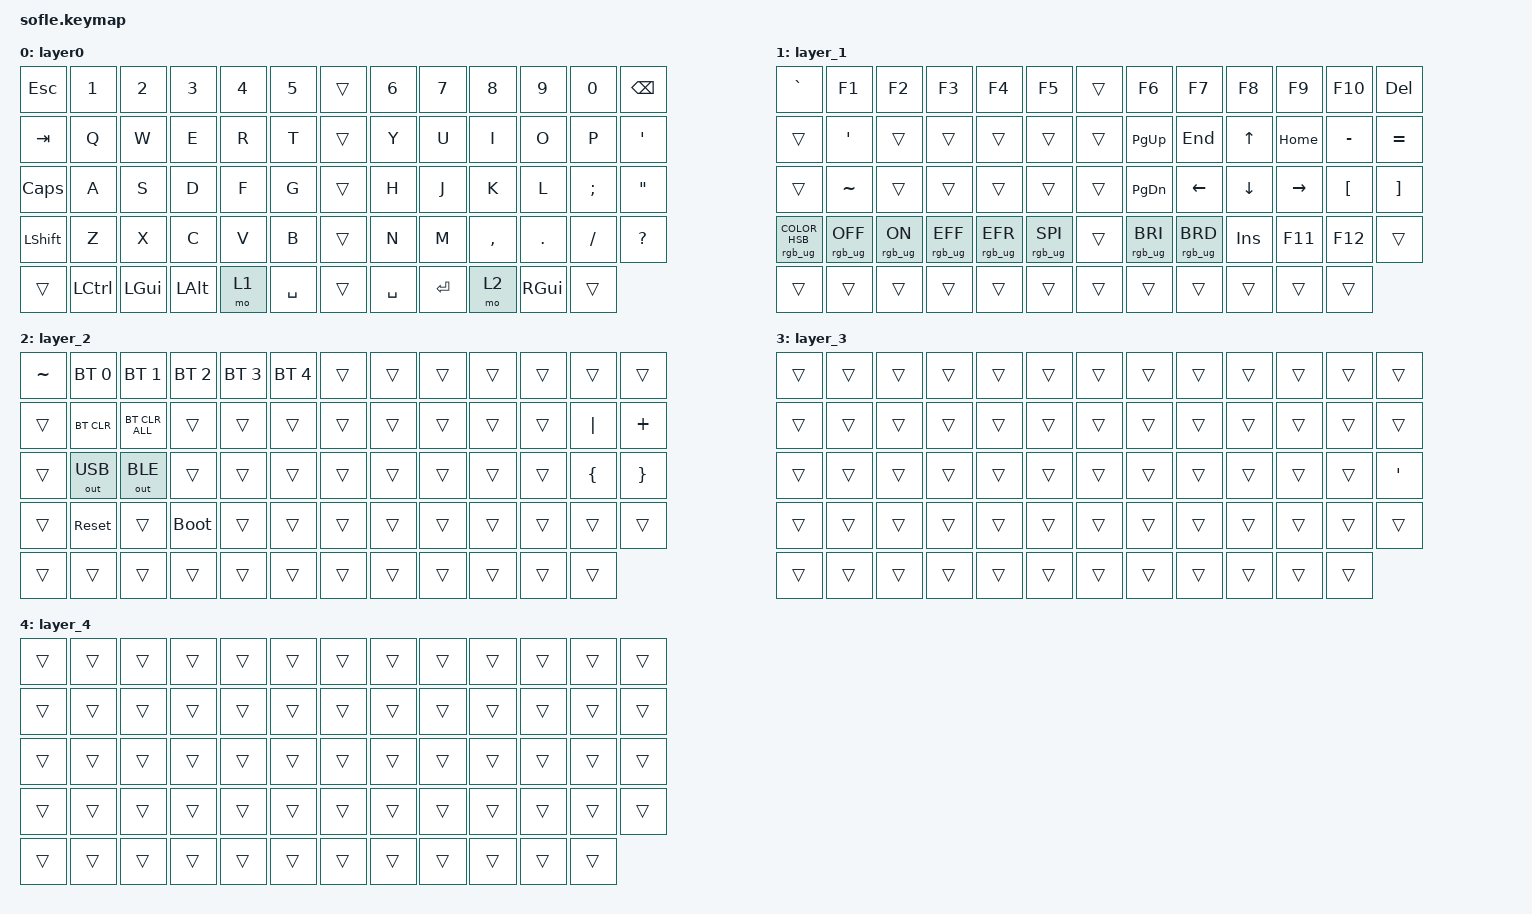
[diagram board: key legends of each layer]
#include <behaviors.dtsi>
#include <dt-bindings/zmk/bt.h>
#include <dt-bindings/zmk/keys.h>
#include <dt-bindings/zmk/outputs.h>
#include <dt-bindings/zmk/rgb.h>

/ {
    keymap {
        compatible = "zmk,keymap";

        layer0 {
            bindings = <
&kp ESC    &kp N1            &kp N2        &kp N3        &kp N4  &kp N5       &trans  &kp N6     &kp N7     &kp N8     &kp N9         &kp N0    &kp BACKSPACE
&kp TAB    &kp Q             &kp W         &kp E         &kp R   &kp T        &trans  &kp Y      &kp U      &kp I      &kp O          &kp P     &kp SINGLE_QUOTE
&kp CAPS   &kp A             &kp S         &kp D         &kp F   &kp G        &trans  &kp H      &kp J      &kp K      &kp L          &kp SEMI  &kp DQT
&kp LSHFT  &kp Z             &kp X         &kp C         &kp V   &kp B        &trans  &kp N      &kp M      &kp COMMA  &kp DOT        &kp FSLH  &kp QUESTION
&trans     &kp LEFT_CONTROL  &kp LEFT_GUI  &kp LEFT_ALT  &mo 1   &kp SPACE    &trans  &kp SPACE  &kp ENTER  &mo 2      &kp RIGHT_GUI  &trans
            >;
        };

        layer_1 {
            bindings = <
&kp GRAVE                         &kp F1           &kp F2          &kp F3           &kp F4           &kp F5             &trans  &kp F6           &kp F7           &kp F8      &kp F9     &kp F10           &kp DELETE
&trans                            &kp APOSTROPHE   &trans          &trans           &trans           &trans             &trans  &kp PG_UP        &kp END          &kp UP      &kp HOME   &kp MINUS         &kp EQUAL
&trans                            &kp TILDE        &trans          &trans           &trans           &trans             &trans  &kp PG_DN        &kp LEFT         &kp DOWN    &kp RIGHT  &kp LEFT_BRACKET  &kp RIGHT_BRACKET
&rgb_ug RGB_COLOR_HSB(57,100,50)  &rgb_ug RGB_OFF  &rgb_ug RGB_ON  &rgb_ug RGB_EFF  &rgb_ug RGB_EFR  &rgb_ug RGB_SPI    &trans  &rgb_ug RGB_BRI  &rgb_ug RGB_BRD  &kp INSERT  &kp F11    &kp F12           &trans
&trans                            &trans           &trans          &trans           &trans           &trans             &trans  &trans           &trans           &trans      &trans     &trans
            >;
        };

        layer_2 {
            bindings = <
&kp TILDE  &bt BT_SEL 0  &bt BT_SEL 1    &bt BT_SEL 2  &bt BT_SEL 3  &bt BT_SEL 4    &trans  &trans  &trans  &trans  &trans  &trans    &trans
&trans     &bt BT_CLR    &bt BT_CLR_ALL  &trans        &trans        &trans          &trans  &trans  &trans  &trans  &trans  &kp PIPE  &kp PLUS
&trans     &out OUT_USB  &out OUT_BLE    &trans        &trans        &trans          &trans  &trans  &trans  &trans  &trans  &kp LBRC  &kp RBRC
&trans     &sys_reset    &trans          &bootloader   &trans        &trans          &trans  &trans  &trans  &trans  &trans  &trans    &trans
&trans     &trans        &trans          &trans        &trans        &trans          &trans  &trans  &trans  &trans  &trans  &trans
            >;
        };

        layer_3 {
            bindings = <
&trans  &trans  &trans  &trans  &trans  &trans    &trans  &trans  &trans  &trans  &trans  &trans  &trans
&trans  &trans  &trans  &trans  &trans  &trans    &trans  &trans  &trans  &trans  &trans  &trans  &trans
&trans  &trans  &trans  &trans  &trans  &trans    &trans  &trans  &trans  &trans  &trans  &trans  &kp SINGLE_QUOTE
&trans  &trans  &trans  &trans  &trans  &trans    &trans  &trans  &trans  &trans  &trans  &trans  &trans
&trans  &trans  &trans  &trans  &trans  &trans    &trans  &trans  &trans  &trans  &trans  &trans
            >;
        };

        layer_4 {
            bindings = <
&trans  &trans  &trans  &trans  &trans  &trans    &trans  &trans  &trans  &trans  &trans  &trans  &trans
&trans  &trans  &trans  &trans  &trans  &trans    &trans  &trans  &trans  &trans  &trans  &trans  &trans
&trans  &trans  &trans  &trans  &trans  &trans    &trans  &trans  &trans  &trans  &trans  &trans  &trans
&trans  &trans  &trans  &trans  &trans  &trans    &trans  &trans  &trans  &trans  &trans  &trans  &trans
&trans  &trans  &trans  &trans  &trans  &trans    &trans  &trans  &trans  &trans  &trans  &trans
            >;
        };
    };
};
